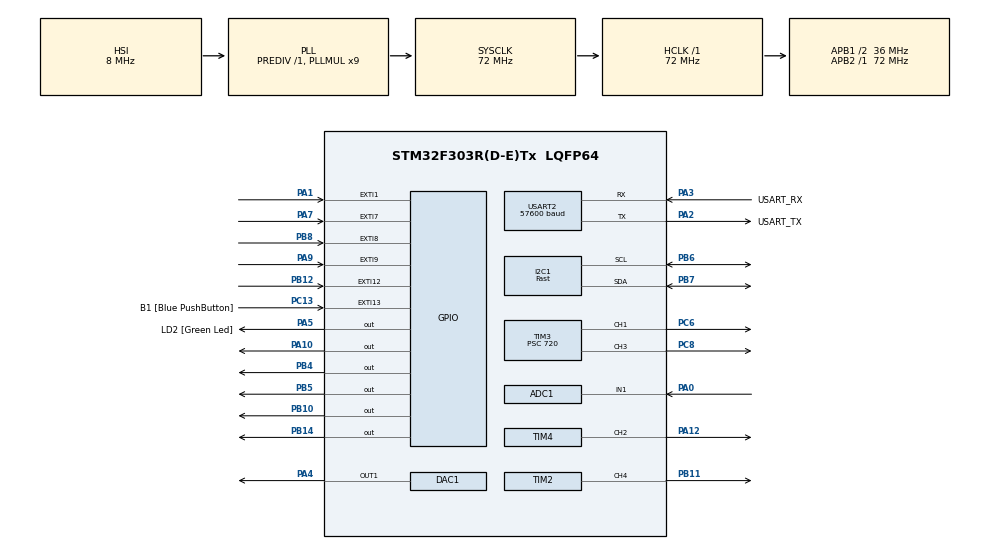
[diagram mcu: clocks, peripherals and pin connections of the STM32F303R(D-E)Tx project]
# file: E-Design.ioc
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ADC1.NbrOfConversionFlag=1
ADC1.SamplingTimeOPAMP-0\#ChannelRegularConversion=ADC_SAMPLETIME_61CYCLES_5
ADC1.master=1
Dma.ADC1.1.Direction=DMA_PERIPH_TO_MEMORY
Dma.ADC1.1.Instance=DMA1_Channel1
Dma.ADC1.1.MemDataAlignment=DMA_MDATAALIGN_HALFWORD
Dma.ADC1.1.MemInc=DMA_MINC_ENABLE
Dma.ADC1.1.Mode=DMA_NORMAL
Dma.ADC1.1.PeriphDataAlignment=DMA_PDATAALIGN_HALFWORD
Dma.ADC1.1.PeriphInc=DMA_PINC_DISABLE
Dma.ADC1.1.Priority=DMA_PRIORITY_LOW
Dma.I2C1_RX.2.Direction=DMA_PERIPH_TO_MEMORY
Dma.I2C1_RX.2.Instance=DMA1_Channel7
Dma.I2C1_RX.2.MemDataAlignment=DMA_MDATAALIGN_BYTE
Dma.I2C1_RX.2.MemInc=DMA_MINC_ENABLE
Dma.I2C1_RX.2.Mode=DMA_NORMAL
Dma.I2C1_RX.2.PeriphDataAlignment=DMA_PDATAALIGN_BYTE
Dma.I2C1_RX.2.PeriphInc=DMA_PINC_DISABLE
Dma.I2C1_RX.2.Priority=DMA_PRIORITY_LOW
Dma.Request0=USART2_RX
Dma.Request1=ADC1
Dma.Request2=I2C1_RX
Dma.USART2_RX.0.Direction=DMA_PERIPH_TO_MEMORY
Dma.USART2_RX.0.Instance=DMA1_Channel6
Dma.USART2_RX.0.MemDataAlignment=DMA_MDATAALIGN_BYTE
Dma.USART2_RX.0.MemInc=DMA_MINC_ENABLE
Dma.USART2_RX.0.Mode=DMA_NORMAL
Dma.USART2_RX.0.PeriphDataAlignment=DMA_PDATAALIGN_BYTE
Dma.USART2_RX.0.PeriphInc=DMA_PINC_DISABLE
Dma.USART2_RX.0.Priority=DMA_PRIORITY_LOW
I2C1.I2C_Speed_Mode=I2C_Fast
I2C1.Timing=0x0000020B
Mcu.Family=STM32F3
Mcu.Name=STM32F303R(D-E)Tx
Mcu.Package=LQFP64
NVIC.ADC1_2_IRQn=true\:0\:0\:false\:false\:true\:true\:true\:true
NVIC.DMA1_Channel1_IRQn=true\:0\:0\:false\:false\:true\:false\:true\:true
NVIC.DMA1_Channel6_IRQn=true\:0\:0\:false\:false\:true\:false\:true\:true
NVIC.DMA1_Channel7_IRQn=true\:0\:0\:false\:false\:true\:false\:true\:true
NVIC.EXTI15_10_IRQn=true\:0\:0\:false\:false\:true\:true\:true\:true
NVIC.EXTI1_IRQn=true\:0\:0\:false\:false\:true\:true\:true\:true
NVIC.EXTI9_5_IRQn=true\:0\:0\:false\:false\:true\:true\:true\:true
NVIC.PriorityGroup=NVIC_PRIORITYGROUP_0
NVIC.TIM2_IRQn=true\:0\:0\:false\:false\:true\:true\:true\:true
NVIC.TIM3_IRQn=true\:0\:0\:false\:false\:true\:true\:true\:true
NVIC.TIM6_DAC_IRQn=true\:0\:0\:false\:false\:true\:true\:true\:true
NVIC.USART2_IRQn=true\:0\:0\:false\:false\:true\:true\:true\:true
PA0.Mode=IN1-Single-Ended
PA0.Signal=ADC1_IN1
PA1.GPIO_ModeDefaultEXTI=GPIO_MODE_IT_RISING_FALLING
PA1.GPIO_PuPd=GPIO_PULLUP
PA1.Signal=GPXTI1
PA10.Signal=GPIO_Output
PA12.Signal=S_TIM4_CH2
PA13.GPIO_Label=TMS
PA13.Mode=Serial_Wire
PA13.Signal=SYS_JTMS-SWDIO
PA14.GPIO_Label=TCK
PA14.Mode=Serial_Wire
PA14.Signal=SYS_JTCK-SWCLK
PA2.GPIO_Label=USART_TX
PA2.GPIO_Mode=GPIO_MODE_AF_PP
PA2.GPIO_PuPd=GPIO_NOPULL
PA2.GPIO_Speed=GPIO_SPEED_FREQ_LOW
PA2.Mode=Asynchronous
PA2.Signal=USART2_TX
PA3.GPIO_Label=USART_RX
PA3.GPIO_Mode=GPIO_MODE_AF_PP
PA3.GPIO_PuPd=GPIO_NOPULL
PA3.GPIO_Speed=GPIO_SPEED_FREQ_LOW
PA3.Mode=Asynchronous
PA3.Signal=USART2_RX
PA4.Signal=COMP_DAC11_group
PA5.GPIO_Label=LD2 [Green Led]
PA5.GPIO_Mode=GPIO_MODE_OUTPUT_PP
PA5.GPIO_PuPd=GPIO_NOPULL
PA5.GPIO_Speed=GPIO_SPEED_FREQ_LOW
PA5.Signal=GPIO_Output
PA7.GPIO_ModeDefaultEXTI=GPIO_MODE_IT_RISING_FALLING
PA7.GPIO_PuPd=GPIO_PULLUP
PA7.Signal=GPXTI7
PA9.GPIO_ModeDefaultEXTI=GPIO_MODE_IT_RISING_FALLING
PA9.GPIO_PuPd=GPIO_PULLUP
PA9.Signal=GPXTI9
PB10.Signal=GPIO_Output
PB11.Signal=S_TIM2_CH4
PB12.GPIO_ModeDefaultEXTI=GPIO_MODE_IT_FALLING
PB12.GPIO_PuPd=GPIO_PULLUP
PB12.Signal=GPXTI12
PB14.PinState=GPIO_PIN_SET
PB14.Signal=GPIO_Output
PB3.GPIO_Label=SWO
PB3.Signal=SYS_JTDO-TRACESWO
PB4.Signal=GPIO_Output
PB5.Signal=GPIO_Output
PB6.Mode=I2C
PB6.Signal=I2C1_SCL
PB7.Mode=I2C
PB7.Signal=I2C1_SDA
PB8.GPIO_ModeDefaultEXTI=GPIO_MODE_IT_RISING_FALLING
PB8.GPIO_PuPd=GPIO_PULLUP
PB8.Signal=GPXTI8
PC13.GPIO_Label=B1 [Blue PushButton]
PC13.GPIO_ModeDefaultEXTI=GPIO_MODE_IT_FALLING
PC13.Signal=GPXTI13
PC14-OSC32_IN.Mode=LSE-External-Oscillator
PC14-OSC32_IN.Signal=RCC_OSC32_IN
PC15-OSC32_OUT.Mode=LSE-External-Oscillator
PC15-OSC32_OUT.Signal=RCC_OSC32_OUT
PC6.Signal=S_TIM3_CH1
PC8.Signal=S_TIM3_CH3
PF0-OSC_IN.Mode=HSE-External-Clock-Source
PF0-OSC_IN.Signal=RCC_OSC_IN
PF1-OSC_OUT.Signal=RCC_OSC_OUT
ProjectManager.HeapSize=0x200
ProjectManager.StackSize=0x400
ProjectManager.TargetToolchain=STM32CubeIDE
RCC.AHBFreq_Value=72000000
RCC.APB1CLKDivider=RCC_HCLK_DIV2
RCC.APB1Freq_Value=36000000
RCC.APB1TimFreq_Value=72000000
RCC.APB2Freq_Value=72000000
RCC.APB2TimFreq_Value=72000000
RCC.CortexFreq_Value=72000000
RCC.HCLKFreq_Value=72000000
RCC.HSE_VALUE=8000000
RCC.HSI_VALUE=8000000
RCC.PLLM=8
RCC.PLLMUL=RCC_PLL_MUL9
RCC.PLLN=336
RCC.PLLP=RCC_PLLP_DIV4
RCC.PLLQ=7
RCC.RCC_PLLsource_Clock_Source_FROM_HSE=RCC_HSE_PREDIV_DIV2
RCC.SYSCLKFreq_VALUE=72000000
RCC.SYSCLKSourceVirtual=RCC_SYSCLKSOURCE_PLLCLK
RCC.USBFreq_Value=72000000
SH.COMP_DAC11_group.0=DAC1_OUT1,DAC_OUT1
SH.S_TIM2_CH4.0=TIM2_CH4,PWM Generation4 CH4
SH.S_TIM3_CH1.0=TIM3_CH1,PWM Generation1 CH1
SH.S_TIM3_CH3.0=TIM3_CH3,PWM Generation3 CH3
SH.S_TIM4_CH2.0=TIM4_CH2,PWM Generation2 CH2
TIM2.Channel-PWM\ Generation4\ CH4=TIM_CHANNEL_4
TIM2.Period=999
TIM2.Prescaler=720
TIM2.Pulse-PWM\ Generation4\ CH4=500
TIM3.Channel-PWM\ Generation1\ CH1=TIM_CHANNEL_1
TIM3.Channel-PWM\ Generation3\ CH3=TIM_CHANNEL_3
TIM3.Period=999
TIM3.Prescaler=720
TIM4.Channel-PWM\ Generation2\ CH2=TIM_CHANNEL_2
TIM4.Period=999
TIM4.Prescaler=720
USART2.BaudRate=57600
USART2.Parity=PARITY_EVEN
USART2.StopBits=STOPBITS_2
USART2.VirtualMode-Asynchronous=VM_ASYNC
USART2.WordLength=WORDLENGTH_9B
VP_TIM2_VS_ClockSourceINT.Mode=Internal
VP_TIM3_VS_ClockSourceINT.Mode=Internal
VP_TIM4_VS_ClockSourceINT.Mode=Internal
board=NUCLEO-F303RE

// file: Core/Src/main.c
/* USER CODE BEGIN Header */
/**
  ******************************************************************************
  * @file           : main.c
  * @brief          : Main program body
  ******************************************************************************
  * @attention
  *
  * Copyright (c) 2023 STMicroelectronics.
  * All rights reserved.
  *
  * This software is licensed under terms that can be found in the LICENSE file
  * in the root directory of this software component.
  * If no LICENSE file comes with this software, it is provided AS-IS.
  *
  ******************************************************************************
  */
/* USER CODE END Header */
#include "main.h"

/* USER CODE BEGIN Includes */
#include "string.h"
#include "stdio.h"
#include <math.h>
#include <stdlib.h>
#include "stdbool.h"
#include "iqs7211a_addresses.h"
#include "IQS7211A_init_AZP1189A3_v0.1.h"
#include "IQS7211A.h"
#include "hellothere.h"

//#include "stm32f4xx_hal_dma.h"
/* USER CODE END Includes */

ADC_HandleTypeDef hadc1;
DMA_HandleTypeDef hdma_adc1;

DAC_HandleTypeDef hdac1;

I2C_HandleTypeDef hi2c1;
DMA_HandleTypeDef hdma_i2c1_rx;

TIM_HandleTypeDef htim2;
TIM_HandleTypeDef htim3;
TIM_HandleTypeDef htim4;

UART_HandleTypeDef huart2;
DMA_HandleTypeDef hdma_usart2_rx;

/* USER CODE BEGIN PV */

//debug

extern uint8_t pressAndHoldFlag;
extern uint8_t SlideFlag;
extern uint8_t TapFlag;
extern uint32_t distance;
extern int diffX;
volatile int volconflag = 0;

int rchan=0;
int gchan=0;
int bchan=0;
uint8_t prevMODE =0;
uint8_t modechangedflag = 0;
extern double InitialdiffX;
extern double InitialdiffY;
extern double initialstate_intensity;
int rrr;
uint8_t stateok=0;
int max_r;

volatile double state_intensity=0;
double slidetime=0;
double calltime=0;
double sliderold1[6]={0};

//dma
int statett =0;
extern uint16_t prodNum;
uint8_t strobeon=0;
uint8_t ps=0; //power state replaces power
uint8_t dmaflag = 0 ;
int rcnt = 0;
extern uint8_t azoFlag;

uint8_t firston = 0;
int testflag=0;
//morsesend
int timuni = 512;
extern int32_t slideroldtrack ;
int reqwait = 0;
int reqwait2 = 0;
int voltlev =0;
int varno=0;
int len1=0;
int len2=0;
int len3=0;
extern uint8_t testmode;
uint8_t probincr=0;

int cyclesno;
char finale[4]="DEB";
uint32_t pwmvoltlev=0;

int sumdiff=0;
volatile int out_new=0;

int x1=0;
int x2=0;
int x3=0;
int x4=0;
int morsesent=0;
int ii=0;
int jj=0;

uint8_t databuf[5];

//morse
uint8_t flagstatcopy = 0;
int test1=0;
int test2=0;
int* output1 = NULL;
float cantruntime =0;
int* output2= NULL;
int* output3= NULL;
char defmes[4] = "SOS" ;
char message[4] = "SOS" ;
char c;
const char* morse = NULL;
int* output;

char* morseTable[] = {
    ".-", "-...", "-.-.", "-..", ".", "..-.", "--.", "....", "..",
    ".---", "-.-", ".-..", "--", "-.", "---", ".--.", "--.-", ".-.",
    "...", "-", "..-", "...-", ".--", "-..-", "-.--", "--..",
    "-----", ".----", "..---", "...--", "....-", ".....",
    "-....", "--...", "---..", "----."
};

//strobe

uint8_t alternator=0;
int dutycyc = 500;
uint32_t strobetime=0;
uint8_t strobeflag = 0;

int k=0;

//UART
char txData[13] = "#:25002783:$\n";
uint8_t rxdata[50];
char countarr[5];

int tickspr = 0;
int tickspr1 = 0;

//debug
uint8_t testopen;
uint8_t byvar;
uint8_t cntlp=0;
int hardfault1=0;
int stinlast =0;

//button vars
extern uint8_t state;
 uint8_t stateincr=0;
 int oldst= 0 ;

uint16_t cntA9=0;  //A9 is middle
uint16_t cntB8=0; //left B8
uint16_t cntA6=0;  //A6 is top
uint16_t cntA7=0;   //A7 right
uint16_t cntA1=0;  //B9 is bottom

uint8_t prevA9=1;
uint8_t prevA1=1;
uint8_t prevB8=1;
uint8_t prevA6=1;
uint8_t prevA7=1;

 uint8_t letbut=0;
 uint8_t ritbut=0;
 uint8_t botbut=0;
 uint8_t topbut=0;
 uint8_t midbut=0;

//adc slider
 uint32_t val=0; // value of R (digital val 0 to around 4k)

float vin=0;
double vinadj=0;

//dac
double dacout=0;
volatile uint32_t output_voltage = 0;

//mode
uint8_t MODE=0;
uint8_t emmode=0;

//pwm
uint16_t pwmval = 0;
int azoincroo=0;

double vinadjsum[3]= {0};
	  uint8_t io=0;

double vinadjav =0;

//uart decoding
uint8_t butencode=0;
uint8_t statepara[4];
uint8_t par1[4];
uint8_t par2[4];
uint8_t statepara_str[5];

uint16_t stateval = 0 ;
uint16_t p1val =0;
uint16_t p2bchan=0;
uint16_t p1timeval =0;

char p2val[4] = "000";
 uint16_t flagstat=0;
uint8_t uartmode=0;
uint8_t statusarr[19];

//uart
uint8_t rxReqBuf[7];
uint8_t rxSetBuf[19];
uint8_t globalsize;

extern uint16_t xCoord;
extern uint16_t yCoord;

//uart inerrupt conflict

double sliderold=0;

/* USER CODE END PV */

void SystemClock_Config(void);
static void MX_GPIO_Init(void);
static void MX_DMA_Init(void);
static void MX_USART2_UART_Init(void);
static void MX_ADC1_Init(void);
static void MX_DAC1_Init(void);
static void MX_TIM2_Init(void);
static void MX_I2C1_Init(void);
static void MX_TIM3_Init(void);
static void MX_TIM4_Init(void);
/* USER CODE BEGIN PFP */

void modeset();
void pwmset();
void dacset();
void emergencyset();
void uartencode();
void uartdecode();
void buttonpressed();
void strobeset();
void sendoutmorse();
void MODESWITCH();
void buttonselect();
void uartselect();
void poweroff();
void convertToMorse();

/* USER CODE END PFP */

/* USER CODE BEGIN 0 */
void HAL_UART_TxCpltCallback(UART_HandleTypeDef *huart) {
	   __HAL_UART_DISABLE_IT(&huart2, UART_IT_TXE);
	   //HAL_UART_Receive_IT(&huart2, (uint8_t *) rx_data, 1);

}

void HAL_UARTEx_RxEventCallback(UART_HandleTypeDef *huart, uint16_t Size){

	dmaflag=0;
	//firston=1;
	rcnt=0;
	//calltime = HAL_GetTick();
	 sliderold=vinadj;
	  if (huart->Instance == USART2) {
	        while (dmaflag != 1 && rcnt < Size+2) { // Loop while there are unread bytes in the buffer
	            if (rxdata[rcnt] == '$' && rcnt <= 5) {

	            	//req
	                memcpy(rxReqBuf, rxdata, 7);
	                uartmode = 2;
	                dmaflag = 1;

	            } else if (rxdata[rcnt] == '$' && rcnt> 5) {

	            	//set
	            	if (ps==0){
	            	ps=1;
	            	firston=1;

	            	}

	                memcpy(rxSetBuf, rxdata, 19);
	                uartmode = 1;

	                dmaflag = 1;

	            } else {
	                rcnt++;
	            }
	        }
	        //sliderold = vinadj;
	        __HAL_DMA_DISABLE_IT(&hdma_usart2_rx, DMA_IT_HT);
	        HAL_UARTEx_ReceiveToIdle_DMA(&huart2, rxdata, 50);
	        volconflag =0;
	    }
	}

void buttonpressed()  {

probincr++;
//button A9 middle
	 if (midbut ==0){
        if (ps==1){
        ps=0;
                  }

        else      {
        ps =1;
        butencode=1;
                  }
        stateok=0;

	 	 	 	 	  }

//button A6 top
     if (topbut==0)   {
      butencode=1;
      stateok=1;
            		  }
//end A6 top

//button B9 bottom

     if (botbut == 0) {
	 butencode=1;
	 stateok=1;
        			  }
 //end B9 bottom

//button B8 left
     if (letbut == 0) {
    	   butencode=1;
    	   ps=0;
    	   p1timeval=0;
    	   cntB8++;
    	   emmode=0;

           MODE = cntB8%3;
           ii=0;
           jj=0;
           rchan =128;
           gchan =128;
           bchan =128;
           stateok=1;
            	  	  }
//end B8 left

//button A7 right
     if (ritbut == 0){

		butencode=1;
        emmode++;
        p1timeval=0;

        if(emmode==3) {
          emmode=0;

    	 	    	   }

        stateok=1;}
//end A7 right

 modeset();

//end button code
}

void dacset(){

	strobeon=1;
	//start
	  HAL_DAC_Start(&hdac1, DAC_CHANNEL_1);
	  HAL_ADC_Start_DMA(&hadc1, &val, 1);

	  vin = val * (3.3) / (pow(2,12)-1);

	  //scale ADC
	  //vinadj = vin*(1.18 - 0.0436*vin + 1.72*(pow(vin,2))/1000);
	  vinadj = vin*(1.17 - 0.0456*vin + 1.70*(pow(vin,2))/1000);

	 if (vinadj>3.28){
		 vinadj=3.30;
	 }

	  //DAC out:

	  //scale dac val
	  dacout = vinadj *( 1.01 + 0.0184*vinadj - 5.15*pow(vinadj,2)/1000);

	  //dac to digital value
	  if (flagstat!=1){
	  output_voltage = (uint32_t)((4095.0/3.30)*dacout);
	  }

	  if (flagstat==1){
		  	output_voltage =(uint32_t) (4095*(((double)(stateval))/512.0));
	  }
	  //truncate digital out
	  if (output_voltage > 4095){
		  output_voltage =4095;
	  }
	  if  (alternator ==0 && strobeflag ==1){
	  		 //output_voltage =0;
		  strobeon =0;
	  	  }

	  if (MODE!=2){
	  //output dac

		  if (volconflag ==0 ){
			  initialstate_intensity = output_voltage;
		  }

		out_new = initialstate_intensity + InitialdiffX; // last state plus last difference
		if (out_new<0){
			out_new =0;

		}
		if (out_new>=4095){
					out_new =4095;

				}

	  HAL_DAC_SetValue(&hdac1, DAC_CHANNEL_1, DAC_ALIGN_12B_R, out_new*strobeon*ps);

	 // HAL_ADC_Stop(&hadc1)
	  }
	  HAL_ADC_Stop_DMA(&hadc1);
}

//end dac
void pwmset(){
	strobeon=1;
	if  (alternator ==0 && strobeflag ==1){
			  strobeon =0;
		  }

	  pwmval=(uint32_t)(((double)out_new)*1000.0/4095.0);
	  if (emmode !=2 && emmode !=1){
	  __HAL_TIM_SET_COMPARE(&htim2, TIM_CHANNEL_4, pwmval*strobeon*ps);
	  }

}

void modeset(){

	if (MODE ==0){
		//PA10 position 1 from left
		HAL_GPIO_WritePin(GPIOA, GPIO_PIN_10, GPIO_PIN_SET);
		HAL_GPIO_WritePin(GPIOB, GPIO_PIN_10, GPIO_PIN_RESET);
		HAL_GPIO_WritePin(GPIOB, GPIO_PIN_4, GPIO_PIN_RESET);
		HAL_GPIO_WritePin(GPIOB, GPIO_PIN_5, GPIO_PIN_RESET);

	}

	if (MODE ==1){
		//PB4 position 3 from left
		HAL_GPIO_WritePin(GPIOA, GPIO_PIN_10, GPIO_PIN_RESET);
		HAL_GPIO_WritePin(GPIOB, GPIO_PIN_10, GPIO_PIN_SET);
		HAL_GPIO_WritePin(GPIOB, GPIO_PIN_4, GPIO_PIN_RESET);

	    emergencyset();  //if mode 2nd on else off

		//PB5 position 4 from left

		}

	if (MODE ==2){
		//PB10 position 2 from left
		HAL_GPIO_WritePin(GPIOA, GPIO_PIN_10, GPIO_PIN_RESET);
		HAL_GPIO_WritePin(GPIOB, GPIO_PIN_10, GPIO_PIN_RESET);
		HAL_GPIO_WritePin(GPIOB, GPIO_PIN_4, GPIO_PIN_SET);
		HAL_GPIO_WritePin(GPIOB, GPIO_PIN_5, GPIO_PIN_RESET);

		}

}

void emergencyset(){
	if (emmode==2 || emmode==1){
				HAL_GPIO_WritePin(GPIOB, GPIO_PIN_5, GPIO_PIN_SET);

	}
	else{
		HAL_GPIO_WritePin(GPIOB, GPIO_PIN_5, GPIO_PIN_RESET);
	}

}

void uartdecode(){
	//size 14
	ps=1;
	  probincr++;
	//param flags
	  firston =1;

	flagstat=1;

	flagstatcopy=1;

//set all values
	//mode is not stored - held in rxsetbuf

		memcpy(statepara, &rxSetBuf[5], 3); // state para is first
	statepara[3] = '\0';
	stateval = (uint16_t)(atoi(statepara));

		memcpy(par1, &rxSetBuf[9], 3);   //here is para1
		par1[3] = '\0';
			p1val = ((double)atoi(par1));
			p1timeval = p1val;

			memcpy(par2, &rxSetBuf[13], 3);   //here is para2
			par2[3] = '\0';
			//snprintf((char*)statepara_str, 5, "%s", (char*)statepara);
			strcpy(p2val, par2);
			p2bchan = ((double)atoi(par2));

			//p2val is a char array

			//if in morse:
			// default is sos on mode switch but then to whatever huart sends. 000 no change
			//

//NOTE statepar and par1 are switched when decoding. Con

	//MODE 1

	if(rxSetBuf[3] == 'F' ){
	MODE =0; //flash
	emmode=0;

	output_voltage =(uint32_t) (4095*(((double)(stateval))/512.0));
	out_new =(uint32_t) (4095*(((double)(stateval))/512.0));

	dacset();
	pwmset();

	}

	//MODE 2
	if(rxSetBuf[3] == 'E' ){
		output_voltage =(uint32_t) (4095*(((double)(stateval))/512.0));
		out_new =(uint32_t) (4095*(((double)(stateval))/512.0));

	MODE =1; //strobe

	if (p1val==0){

		//its in morse custom mode
		emmode=2;

		if (p2val[0] == '0' && p2val[1] == '0' && p2val[2] == '0'){

			message[3]= '\0';

			//do nothing idk
		}
		else{

			//declare my message array as para2
			for(int i=0;i<3;i++){
			message[i]= p2val[i];
			message[3]= '\0';

			}
			if ( p2val[0]=='0' && p2val[1]=='0' && p2val[2]=='0'){
				for(int i=0;i<3;i++){
							message[i]= defmes[i];
							message[3]= '\0';

							}

			}

		}

		}

	else if (p1val !=0){
		//probincr++;
					//its in strobe mode
					// output_voltage = stateval;
							dacset();
							pwmset();
							//customized for when mode =1
							emmode=0;

				}

	}

	//MODE 3
	if(rxSetBuf[3] == 'M' ){
	MODE =2;

	rchan =stateval;
	gchan = p1val;
	bchan = p2bchan;

	//adjust R channel

	}

firston=1;
	sliderold = vinadj;
	ps=1;
modeset();
}

void uartencode(){

//if flagstat 0??

		stateval = (uint32_t)((double)(out_new)*512.0/4095.0 + 0.5);

	if (emmode==0 && MODE ==1){ // if switched to manual input then  act accordingly flagstat==0 &&

		strcpy(p2val, "SOS");

	}

	if (MODE==1 && (emmode==1 )  && p2val[0]=='0' && p2val[1]=='0' && p2val[2]=='0'){
		 memcpy(p2val, defmes, 4);
	}

	if (MODE==1 && emmode==2 && p2val[0]=='0' && p2val[1]=='0' && p2val[2]=='0'){
		 memcpy(p2val, message, 4);

		}

	if (MODE ==2 ){
		stateval = rchan;
		p1timeval = gchan;
		sprintf(p2val, "%03d", bchan);

	}
	if (ps ==0 && MODE !=2){
		stateval =0;
	}

	// Use sprintf() to format the integer as a string and store it in the totransmit array

	sprintf((char*)(intptr_t)&statusarr[9], "%03d", p1timeval);
	//sprintf((char*)(intptr_t)&statusarr[13], "%03d", p2val);
	sprintf((char*)(intptr_t)&statusarr[13], "%s", p2val);
	//	sprintf(&statusarr[9], "%03d", p2val);
	sprintf(&statusarr[5], "%03d", stateval);
	statusarr[0] = '#';
	sprintf((char*)(intptr_t)&statusarr[1], "%03d", ':');
	statusarr[2] = 'M';
	statusarr[1] = ':';
	statusarr[4] = ':';
	statusarr[8] = ':';
	statusarr[12] = ':';
	statusarr[16] = ':';
	statusarr[17] = '$';
	statusarr[18] = 10;
	//sprintf(&statusarr[9], "%03d", p2val);

	if (MODE==0){

		statusarr[3] = 'F';
	}
	if (MODE==1){

		statusarr[3] = 'E';
	}
	if (MODE==2){

		statusarr[3] = 'M';
	}

	HAL_UART_Transmit(&huart2, statusarr, 19, 500);

}

void strobeset(){

// Start the PWM signal
strobeflag =1;

if (alternator ==0){

dacset();
pwmset();
alternator =1;
}
else{

dacset();
pwmset();
alternator =0;

}

strobetime = HAL_GetTick();

strobeflag=0;

}
//declare

void convertToMorse() {

    for (int i = 0; i < 3; i++) {
        // Convert current character to uppercase
    	if (emmode==2){
         c = (message[i]);
    	}
    	if (emmode==1){
    		c = defmes[i];
    	}

        // Find Morse code for current character
        //const char* morse = NULL;
        if (c >= 'A' && c <= 'Z') {
            morse = morseTable[c - 'A']; //morse is current morse char ie S
        } else if (c >= '0' && c <= '9') {
            morse = morseTable[c - '0' + 26];
        }

        // Convert Morse code to binary and store in appropriate output array

        if (i == 0) {
    		len1 = strlen(morse) ;
        	output = output1 = (int*) malloc(strlen(morse) * sizeof(int)+1);

        } else if (i == 1) {
        	len2 = strlen(morse) ;
            output = output2 = (int*) malloc(strlen(morse) * sizeof(int)+1);
        } else {
        	len3 = strlen(morse) ;
            output = output3 = (int*) malloc(strlen(morse) * sizeof(int)+1);
        }
        //varno++;
         k = 0;
        while (*morse) {
            output[k++] = (*morse++ == '.') ? 0 : 1;
        }
        output[k] = '\0';

    }

}

void sendoutmorse(){

	if ((HAL_GetTick()-morsesent)>=reqwait){

		HAL_DAC_SetValue(&hdac1, DAC_CHANNEL_1, DAC_ALIGN_12B_R, 0);
		__HAL_TIM_SET_COMPARE(&htim2, TIM_CHANNEL_4, 0);

		if ((HAL_GetTick()-morsesent)>=(reqwait+timuni + reqwait2)){

			voltlev = out_new;

			//fix here
			pwmvoltlev = ((double)voltlev)*1000/4095;
			reqwait2 =0;

	if (ii ==0){
		//output1[i]!='\0'
		if (output1[jj]==1){

			HAL_DAC_SetValue(&hdac1, DAC_CHANNEL_1, DAC_ALIGN_12B_R, voltlev*ps);
			__HAL_TIM_SET_COMPARE(&htim2, TIM_CHANNEL_4, pwmvoltlev*ps);
			 //databuf[i] = '1';
			reqwait = 3*timuni;
			//srtflag =1; //wait extra 512ms at 0V

		}

		else{

			//databuf[i] = '0';

			HAL_DAC_SetValue(&hdac1, DAC_CHANNEL_1, DAC_ALIGN_12B_R, voltlev*ps);
			__HAL_TIM_SET_COMPARE(&htim2, TIM_CHANNEL_4, pwmvoltlev*ps);
			reqwait = timuni;
		}
		jj++;
		if (jj==len1){
			reqwait2  = 2*timuni;

			ii++;
			jj=0;
		}

	}

	else if (ii ==1){
		//output1[i]!='\0'
		if (output2[jj]==1 ){

			HAL_DAC_SetValue(&hdac1, DAC_CHANNEL_1, DAC_ALIGN_12B_R, voltlev*ps);
			__HAL_TIM_SET_COMPARE(&htim2, TIM_CHANNEL_4, pwmvoltlev*ps);

			reqwait = 3*timuni;

		}

		else{

			HAL_DAC_SetValue(&hdac1, DAC_CHANNEL_1, DAC_ALIGN_12B_R, voltlev*ps);
			__HAL_TIM_SET_COMPARE(&htim2, TIM_CHANNEL_4, pwmvoltlev*ps);
			reqwait = timuni;
		}
		test1=jj;
		jj++;
		if (jj==len2){
			test2=jj;
			ii++;
			jj=0;
			reqwait2  = 2*timuni;
		}

	}

	else if (ii ==2){
		//output1[i]!='\0'
		if (output3[jj]==1){
			reqwait = 3*timuni;

			HAL_DAC_SetValue(&hdac1, DAC_CHANNEL_1, DAC_ALIGN_12B_R, voltlev*ps);
			__HAL_TIM_SET_COMPARE(&htim2, TIM_CHANNEL_4, pwmvoltlev*ps);

		}

		else{
			//databuf[i] = '0';

			HAL_DAC_SetValue(&hdac1, DAC_CHANNEL_1, DAC_ALIGN_12B_R, voltlev*ps);
			__HAL_TIM_SET_COMPARE(&htim2, TIM_CHANNEL_4, pwmvoltlev*ps);
			reqwait = timuni;
		}
		jj++;
		if (jj==len3){
			ii=0;
			jj=0;
			reqwait2  = 6*timuni;
		}

			//HAL_UART_Transmit(&huart2, databuf, len1+1, 5);

	}
		morsesent = HAL_GetTick();

}}}

void buttonselect(){

	midbut = HAL_GPIO_ReadPin(GPIOA, GPIO_PIN_9);
        		botbut = HAL_GPIO_ReadPin(GPIOA, GPIO_PIN_1);
        		letbut = HAL_GPIO_ReadPin(GPIOB, GPIO_PIN_8);
        		ritbut = HAL_GPIO_ReadPin(GPIOA, GPIO_PIN_7);
        		topbut =  HAL_GPIO_ReadPin(GPIOA, GPIO_PIN_6);

  if ( letbut ==0 || botbut==0 ||  ritbut==0 || topbut==0 || midbut==0){
	  stateincr++;

  }
  else {
	  stateincr=0;
	  state=0;
  }

  	  if (stateincr>=170){
  		  stinlast= stateincr;
		  buttonpressed();
  	  stateincr=0;
  	state=0;
  	 tickspr = HAL_GetTick();
  	  }

}
//end func

void poweroff(){
				HAL_DAC_SetValue(&hdac1, DAC_CHANNEL_1, DAC_ALIGN_12B_R, 0);
				  __HAL_TIM_SET_COMPARE(&htim2, TIM_CHANNEL_4, 0);

	  }

//endpower

void MODESWITCH(){

		  if (MODE ==0){
				  dacset();
				  pwmset();  // SET PWM AND DAC BASED ON SLIDER VOLTAGE

					  }
			if (MODE ==1 ){

							if (emmode==0){
								//strobe flagstat==1 ||
								if(p1timeval !=0){
								if (HAL_GetTick()-strobetime>=p1timeval){
									  strobeset();
											  }}
								else if (flagstat==0 || p1timeval==0){
									p1timeval=512;

									if (HAL_GetTick()-strobetime>=512){
									strobeset();
																						  }

								}
							}

							else if (emmode ==1 || emmode ==2){

								//morse

								dacset();
								  pwmset();
						  convertToMorse();
								sendoutmorse();

							free(output1);
							free(output2);
							free(output3);
			}}

			if (MODE==2){
//				if (modechangedflag){
//					rchan =128;
//					gchan =128;
//					bchan =128;
//					modechangedflag=0;
//				}

				HAL_DAC_SetValue(&hdac1, DAC_CHANNEL_1, DAC_ALIGN_12B_R, 0);
				__HAL_TIM_SET_COMPARE(&htim2, TIM_CHANNEL_4, 0);

			}

}
//end modeswitch

void uartselect(){
probincr += uartmode;
		if (uartmode==1){
			  	  	  //mode 1 is a set command

			  uartdecode();

				//uartencode();

			 uartmode=0;
		  }

		  if (uartmode==2){

			  //mode 2 is a request command

			  uartencode();
			  uartmode=0;  //mode 0 is no decode or encode
	  }

}

void hitthelights(){

	// x 0-  1792  y 0- 768
	int streng = (int)((float)yCoord/740.0*572);
	if (streng >512){
		streng =512;
	}

	if(xCoord <(1783.0/3) && xCoord >0){
		rchan = streng;  // r mapped pc8 3,3
		char* msg = "red channel: ";
		int len = strlen(msg);
		//HAL_UART_Transmit(&huart2, (uint8_t*)msg, len, 100);
		char statey[5];
								sprintf(&statey, "%03d\n", rchan);
								//HAL_UART_Transmit(&huart2, (uint8_t*)statey, 3, 100);
		//HAL_UART_Transmit(&huart2, (uint8_t*)"\n", 1, 100);

	}
	if(xCoord >(1783.0/3) && xCoord <(1783.0*2/3)){
			gchan = streng; // g mapped pa12 4,2
			char* msg = "green channel: ";
			int len = strlen(msg);
			//HAL_UART_Transmit(&huart2, (uint8_t*)msg, len, 100);

			char statey[5];
			sprintf(&statey, "%03d\n", gchan);
			//HAL_UART_Transmit(&huart2, (uint8_t*)statey, 3, 100);

			//HAL_UART_Transmit(&huart2, (uint8_t*)"\n", 1, 100);

		}
	if(xCoord >(1783.0*2/3) && xCoord <(1783.0)){
			bchan =(int) streng;   // blue mapped pc6 tim3 chan 1

			char* msg = "blue channel: ";
			int len = strlen(msg);
			//HAL_UART_Transmit(&huart2, (uint8_t*)msg, len, 100);
			//transmit message
			char statey[5];
						sprintf(&statey, "%03d\n", bchan);
						//HAL_UART_Transmit(&huart2, (uint8_t*)statey, 3, 100);
		//trans channel
		//trans newline

			//HAL_UART_Transmit(&huart2, (uint8_t*)"\n", 1, 100);

		}

}

/* USER CODE END 0 */

int main(void)
{

  /* MCU Configuration--------------------------------------------------------*/

  /* Reset of all peripherals, Initializes the Flash interface and the Systick. */

	HAL_Init();

  /* Configure the system clock */
  SystemClock_Config();

  /* Initialize all configured peripherals */
  MX_GPIO_Init();
  MX_DMA_Init();
  MX_USART2_UART_Init();
  MX_ADC1_Init();
  MX_DAC1_Init();
  MX_TIM2_Init();
  MX_I2C1_Init();
  MX_TIM3_Init();
  MX_TIM4_Init();
  /* USER CODE BEGIN 2 */
//  HAL_UART_Receive_IT(&huart2, rxdata, sizeof(rxdata));
HAL_Delay(150);
HAL_UARTEx_ReceiveToIdle_DMA(&huart2, rxdata, 50);
  __HAL_DMA_DISABLE_IT(&hdma_usart2_rx, DMA_IT_HT);
HAL_UART_Transmit(&huart2, (uint8_t*)txData, 13, 500);

//HAL_Delay(50);
//
//char buffer[] = "helloworld";
//strcpy(buffer, "helloworld");
//
//HAL_UART_Transmit(&huart2, (uint8_t*)buffer, 11, 500);

  modeset();
 // HAL_Delay(10);
  HAL_TIM_PWM_Start(&htim2, TIM_CHANNEL_4); // 42 33 31
  HAL_TIM_PWM_Start(&htim4, TIM_CHANNEL_2);
  HAL_TIM_PWM_Start(&htim3, TIM_CHANNEL_3);
  HAL_TIM_PWM_Start(&htim3, TIM_CHANNEL_1);

  HAL_ADC_Start(&hadc1);
  HAL_ADC_Start_DMA(&hadc1, &val, 1);
  //HAL_Delay(10);

  HAL_GPIO_WritePin(GPIOB, GPIO_PIN_14, GPIO_PIN_RESET);
  	HAL_Delay(10);
  	HAL_GPIO_WritePin(GPIOB, GPIO_PIN_14, GPIO_PIN_SET);
  //	HAL_Delay(10);
  	make_reset_certain();
  	set_trackpad_settings();
  //	HAL_Delay(10);
  	TP_ReATI();

  	//HAL_Delay(10);

firston =1;

//while (azoFlag==0){
//
//	continue;
//}
//azoFlag=0;
//acknowledgeReset();
//writeMM();
//TP_ReATI();
//uint16_t prodNum = getProductNum();

  /* USER CODE END 2 */

  /* Infinite loop */
  /* USER CODE BEGIN WHILE */
  while (1)
  {

	  if (MODE ==2){

			 __HAL_TIM_SET_COMPARE(&htim3, TIM_CHANNEL_3, (int)(((float)rchan)*ps*1000.0/512.0));
			 __HAL_TIM_SET_COMPARE(&htim4, TIM_CHANNEL_2, (int)(((float)bchan)*ps*1000.0/512.0));
		  __HAL_TIM_SET_COMPARE(&htim3, TIM_CHANNEL_1, (int)(((float)gchan)*ps*1000.0/512.0));
	  }
	  else {
		  rchan=128;
		  bchan=128;
		  gchan=128;
			 __HAL_TIM_SET_COMPARE(&htim3, TIM_CHANNEL_3, (int)(((float)rchan)*0/512.0));
			 __HAL_TIM_SET_COMPARE(&htim4, TIM_CHANNEL_2, (int)(((float)gchan)*0/512.0));
		  __HAL_TIM_SET_COMPARE(&htim3, TIM_CHANNEL_1, (int)(((float)bchan)*0/512.0));
	  }
	  vinadjsum[io] = vinadj;
	  vinadjav = 	( vinadjsum[0]+vinadjsum[2]+vinadjsum[1])/(io+1);
	  io++;
	  if (io==3){
		  io=0;
		  vinadjsum[0]=0;
		  vinadjsum[1]=0;
		  vinadjsum[2]=0;
	  }

//	  if (prevMODE !=MODE){
//		  modechangedflag =1;
//	  }

	  //ensures slider old not set to 0 before vinadj initialized

	  //uart protocol set or request function

	  uartselect();

	  //find out which mode and call its operations
		  MODESWITCH();

	if (flagstat==0){
		sliderold=vinadj;
	}
	  if (ps==0){

		 poweroff();

	  }

	  //button press and operations

	// send out button press state
	  if (state==1 && HAL_GetTick()-tickspr>=28){  //button pressed
	buttonselect();

		 	  }
	  if (butencode==1){

		  probincr++;
		  uartencode();
		  butencode=0;
	  }

	  updateTrackpad();

	  if (TapFlag==1){
		  sliderold = vinadj;
		  stateok=0;
		  firston=1;
		 // cantruntime =HAL_GetTick();
		  if (MODE ==2 ){
			  //modes go from 0-2
			  hitthelights();

		  }
		  if (MODE ==1){
			  emmode++;
			        p1timeval=0;

			        if(emmode==3) {
			          emmode=0;

			    	 	    	   }
			       modeset();
		  }
		  flagstatcopy = 1;

		  TapFlag=0;
	  }

		  if (flagstat==1 && firston !=1 && (  abs((int32_t)(1000.0*
				  (sliderold - vinadjav)))>150  || ((stateok ==1) && state==1)))
				  {

			  flagstat=0;  //revert to analog in

		  }
		   rrr = (abs((int32_t)((int32_t)slideroldtrack - (int32_t)output_voltage) ));

		  if (  rrr>300  || flagstatcopy==1){

			  //sumdiff=0;
			 // resinitflag =1;
			  out_new = output_voltage;
			  initialstate_intensity = output_voltage;
			  InitialdiffX = 0;
			  volconflag=0;
			  flagstatcopy=0;
		  }

		  if (pressAndHoldFlag==1){
			  if (ps==1){
				  probincr++;
				  ps=0;

			  }
			  else{ps=1;}
			  pressAndHoldFlag=0;
		 	  }

//		  if (firston==1){
//			  azoFlag =1;
//		  }

		  firston=0;
    /* USER CODE END WHILE */

  }
}

void SystemClock_Config(void)
{
  RCC_OscInitTypeDef RCC_OscInitStruct = {0};
  RCC_ClkInitTypeDef RCC_ClkInitStruct = {0};
  RCC_PeriphCLKInitTypeDef PeriphClkInit = {0};

  /** Initializes the RCC Oscillators according to the specified parameters
  * in the RCC_OscInitTypeDef structure.
  */
  RCC_OscInitStruct.OscillatorType = RCC_OSCILLATORTYPE_HSI;
  RCC_OscInitStruct.HSIState = RCC_HSI_ON;
  RCC_OscInitStruct.HSICalibrationValue = RCC_HSICALIBRATION_DEFAULT;
  RCC_OscInitStruct.PLL.PLLState = RCC_PLL_ON;
  RCC_OscInitStruct.PLL.PLLSource = RCC_PLLSOURCE_HSI;
  RCC_OscInitStruct.PLL.PLLMUL = RCC_PLL_MUL9;
  RCC_OscInitStruct.PLL.PREDIV = RCC_PREDIV_DIV1;
  if (HAL_RCC_OscConfig(&RCC_OscInitStruct) != HAL_OK)
  {
    Error_Handler();
  }

  /** Initializes the CPU, AHB and APB buses clocks
  */
  RCC_ClkInitStruct.ClockType = RCC_CLOCKTYPE_HCLK|RCC_CLOCKTYPE_SYSCLK
                              |RCC_CLOCKTYPE_PCLK1|RCC_CLOCKTYPE_PCLK2;
  RCC_ClkInitStruct.SYSCLKSource = RCC_SYSCLKSOURCE_PLLCLK;
  RCC_ClkInitStruct.AHBCLKDivider = RCC_SYSCLK_DIV1;
  RCC_ClkInitStruct.APB1CLKDivider = RCC_HCLK_DIV2;
  RCC_ClkInitStruct.APB2CLKDivider = RCC_HCLK_DIV1;

  if (HAL_RCC_ClockConfig(&RCC_ClkInitStruct, FLASH_LATENCY_2) != HAL_OK)
  {
    Error_Handler();
  }
  PeriphClkInit.PeriphClockSelection = RCC_PERIPHCLK_USART2|RCC_PERIPHCLK_I2C1
                              |RCC_PERIPHCLK_ADC12|RCC_PERIPHCLK_TIM2
                              |RCC_PERIPHCLK_TIM34;
  PeriphClkInit.Usart2ClockSelection = RCC_USART2CLKSOURCE_PCLK1;
  PeriphClkInit.Adc12ClockSelection = RCC_ADC12PLLCLK_DIV1;
  PeriphClkInit.I2c1ClockSelection = RCC_I2C1CLKSOURCE_HSI;
  PeriphClkInit.Tim2ClockSelection = RCC_TIM2CLK_HCLK;
  PeriphClkInit.Tim34ClockSelection = RCC_TIM34CLK_HCLK;
  if (HAL_RCCEx_PeriphCLKConfig(&PeriphClkInit) != HAL_OK)
  {
    Error_Handler();
  }
}

static void MX_ADC1_Init(void)
{

  ADC_MultiModeTypeDef multimode = {0};
  ADC_ChannelConfTypeDef sConfig = {0};

  /** Common config
  */
  hadc1.Instance = ADC1;
  hadc1.Init.ClockPrescaler = ADC_CLOCK_ASYNC_DIV1;
  hadc1.Init.Resolution = ADC_RESOLUTION_12B;
  hadc1.Init.ScanConvMode = ADC_SCAN_DISABLE;
  hadc1.Init.ContinuousConvMode = DISABLE;
  hadc1.Init.DiscontinuousConvMode = DISABLE;
  hadc1.Init.ExternalTrigConvEdge = ADC_EXTERNALTRIGCONVEDGE_NONE;
  hadc1.Init.ExternalTrigConv = ADC_SOFTWARE_START;
  hadc1.Init.DataAlign = ADC_DATAALIGN_RIGHT;
  hadc1.Init.NbrOfConversion = 1;
  hadc1.Init.DMAContinuousRequests = DISABLE;
  hadc1.Init.EOCSelection = ADC_EOC_SINGLE_CONV;
  hadc1.Init.LowPowerAutoWait = DISABLE;
  hadc1.Init.Overrun = ADC_OVR_DATA_OVERWRITTEN;
  if (HAL_ADC_Init(&hadc1) != HAL_OK)
  {
    Error_Handler();
  }

  /** Configure the ADC multi-mode
  */
  multimode.Mode = ADC_MODE_INDEPENDENT;
  if (HAL_ADCEx_MultiModeConfigChannel(&hadc1, &multimode) != HAL_OK)
  {
    Error_Handler();
  }

  /** Configure Regular Channel
  */
  sConfig.Channel = ADC_CHANNEL_1;
  sConfig.Rank = ADC_REGULAR_RANK_1;
  sConfig.SingleDiff = ADC_SINGLE_ENDED;
  sConfig.SamplingTime = ADC_SAMPLETIME_1CYCLE_5;
  sConfig.OffsetNumber = ADC_OFFSET_NONE;
  sConfig.Offset = 0;
  if (HAL_ADC_ConfigChannel(&hadc1, &sConfig) != HAL_OK)
  {
    Error_Handler();
  }

}

static void MX_DAC1_Init(void)
{

  DAC_ChannelConfTypeDef sConfig = {0};

  /** DAC Initialization
  */
  hdac1.Instance = DAC1;
  if (HAL_DAC_Init(&hdac1) != HAL_OK)
  {
    Error_Handler();
  }

  /** DAC channel OUT1 config
  */
  sConfig.DAC_Trigger = DAC_TRIGGER_NONE;
  sConfig.DAC_OutputBuffer = DAC_OUTPUTBUFFER_ENABLE;
  if (HAL_DAC_ConfigChannel(&hdac1, &sConfig, DAC_CHANNEL_1) != HAL_OK)
  {
    Error_Handler();
  }

}

static void MX_I2C1_Init(void)
{

  hi2c1.Instance = I2C1;
  hi2c1.Init.Timing = 0x0000020B;
  hi2c1.Init.OwnAddress1 = 0;
  hi2c1.Init.AddressingMode = I2C_ADDRESSINGMODE_7BIT;
  hi2c1.Init.DualAddressMode = I2C_DUALADDRESS_DISABLE;
  hi2c1.Init.OwnAddress2 = 0;
  hi2c1.Init.OwnAddress2Masks = I2C_OA2_NOMASK;
  hi2c1.Init.GeneralCallMode = I2C_GENERALCALL_DISABLE;
  hi2c1.Init.NoStretchMode = I2C_NOSTRETCH_DISABLE;
  if (HAL_I2C_Init(&hi2c1) != HAL_OK)
  {
    Error_Handler();
  }

  /** Configure Analogue filter
  */
  if (HAL_I2CEx_ConfigAnalogFilter(&hi2c1, I2C_ANALOGFILTER_ENABLE) != HAL_OK)
  {
    Error_Handler();
  }

  /** Configure Digital filter
  */
  if (HAL_I2CEx_ConfigDigitalFilter(&hi2c1, 0) != HAL_OK)
  {
    Error_Handler();
  }

}

static void MX_TIM2_Init(void)
{

  TIM_ClockConfigTypeDef sClockSourceConfig = {0};
  TIM_MasterConfigTypeDef sMasterConfig = {0};
  TIM_OC_InitTypeDef sConfigOC = {0};

  htim2.Instance = TIM2;
  htim2.Init.Prescaler = 720;
  htim2.Init.CounterMode = TIM_COUNTERMODE_UP;
  htim2.Init.Period = 999;
  htim2.Init.ClockDivision = TIM_CLOCKDIVISION_DIV1;
  htim2.Init.AutoReloadPreload = TIM_AUTORELOAD_PRELOAD_DISABLE;
  if (HAL_TIM_Base_Init(&htim2) != HAL_OK)
  {
    Error_Handler();
  }
  sClockSourceConfig.ClockSource = TIM_CLOCKSOURCE_INTERNAL;
  if (HAL_TIM_ConfigClockSource(&htim2, &sClockSourceConfig) != HAL_OK)
  {
    Error_Handler();
  }
  if (HAL_TIM_PWM_Init(&htim2) != HAL_OK)
  {
    Error_Handler();
  }
  sMasterConfig.MasterOutputTrigger = TIM_TRGO_RESET;
  sMasterConfig.MasterSlaveMode = TIM_MASTERSLAVEMODE_DISABLE;
  if (HAL_TIMEx_MasterConfigSynchronization(&htim2, &sMasterConfig) != HAL_OK)
  {
    Error_Handler();
  }
  sConfigOC.OCMode = TIM_OCMODE_PWM1;
  sConfigOC.Pulse = 500;
  sConfigOC.OCPolarity = TIM_OCPOLARITY_HIGH;
  sConfigOC.OCFastMode = TIM_OCFAST_DISABLE;
  if (HAL_TIM_PWM_ConfigChannel(&htim2, &sConfigOC, TIM_CHANNEL_4) != HAL_OK)
  {
    Error_Handler();
  }
  HAL_TIM_MspPostInit(&htim2);

}

static void MX_TIM3_Init(void)
{

  TIM_ClockConfigTypeDef sClockSourceConfig = {0};
  TIM_MasterConfigTypeDef sMasterConfig = {0};
  TIM_OC_InitTypeDef sConfigOC = {0};

  htim3.Instance = TIM3;
  htim3.Init.Prescaler = 720;
  htim3.Init.CounterMode = TIM_COUNTERMODE_UP;
  htim3.Init.Period = 999;
  htim3.Init.ClockDivision = TIM_CLOCKDIVISION_DIV1;
  htim3.Init.AutoReloadPreload = TIM_AUTORELOAD_PRELOAD_DISABLE;
  if (HAL_TIM_Base_Init(&htim3) != HAL_OK)
  {
    Error_Handler();
  }
  sClockSourceConfig.ClockSource = TIM_CLOCKSOURCE_INTERNAL;
  if (HAL_TIM_ConfigClockSource(&htim3, &sClockSourceConfig) != HAL_OK)
  {
    Error_Handler();
  }
  if (HAL_TIM_PWM_Init(&htim3) != HAL_OK)
  {
    Error_Handler();
  }
  sMasterConfig.MasterOutputTrigger = TIM_TRGO_RESET;
  sMasterConfig.MasterSlaveMode = TIM_MASTERSLAVEMODE_DISABLE;
  if (HAL_TIMEx_MasterConfigSynchronization(&htim3, &sMasterConfig) != HAL_OK)
  {
    Error_Handler();
  }
  sConfigOC.OCMode = TIM_OCMODE_PWM1;
  sConfigOC.Pulse = 0;
  sConfigOC.OCPolarity = TIM_OCPOLARITY_HIGH;
  sConfigOC.OCFastMode = TIM_OCFAST_DISABLE;
  if (HAL_TIM_PWM_ConfigChannel(&htim3, &sConfigOC, TIM_CHANNEL_1) != HAL_OK)
  {
    Error_Handler();
  }
  if (HAL_TIM_PWM_ConfigChannel(&htim3, &sConfigOC, TIM_CHANNEL_3) != HAL_OK)
  {
    Error_Handler();
  }
  HAL_TIM_MspPostInit(&htim3);

}

static void MX_TIM4_Init(void)
{

  TIM_ClockConfigTypeDef sClockSourceConfig = {0};
  TIM_MasterConfigTypeDef sMasterConfig = {0};
  TIM_OC_InitTypeDef sConfigOC = {0};

  htim4.Instance = TIM4;
  htim4.Init.Prescaler = 720;
  htim4.Init.CounterMode = TIM_COUNTERMODE_UP;
  htim4.Init.Period = 999;
  htim4.Init.ClockDivision = TIM_CLOCKDIVISION_DIV1;
  htim4.Init.AutoReloadPreload = TIM_AUTORELOAD_PRELOAD_DISABLE;
  if (HAL_TIM_Base_Init(&htim4) != HAL_OK)
  {
    Error_Handler();
  }
  sClockSourceConfig.ClockSource = TIM_CLOCKSOURCE_INTERNAL;
  if (HAL_TIM_ConfigClockSource(&htim4, &sClockSourceConfig) != HAL_OK)
  {
    Error_Handler();
  }
  if (HAL_TIM_PWM_Init(&htim4) != HAL_OK)
  {
    Error_Handler();
  }
  sMasterConfig.MasterOutputTrigger = TIM_TRGO_RESET;
  sMasterConfig.MasterSlaveMode = TIM_MASTERSLAVEMODE_DISABLE;
  if (HAL_TIMEx_MasterConfigSynchronization(&htim4, &sMasterConfig) != HAL_OK)
  {
    Error_Handler();
  }
  sConfigOC.OCMode = TIM_OCMODE_PWM1;
  sConfigOC.Pulse = 0;
  sConfigOC.OCPolarity = TIM_OCPOLARITY_HIGH;
  sConfigOC.OCFastMode = TIM_OCFAST_DISABLE;
  if (HAL_TIM_PWM_ConfigChannel(&htim4, &sConfigOC, TIM_CHANNEL_2) != HAL_OK)
  {
    Error_Handler();
  }
  HAL_TIM_MspPostInit(&htim4);

}

static void MX_USART2_UART_Init(void)
{

  huart2.Instance = USART2;
  huart2.Init.BaudRate = 57600;
  huart2.Init.WordLength = UART_WORDLENGTH_9B;
  huart2.Init.StopBits = UART_STOPBITS_2;
  huart2.Init.Parity = UART_PARITY_EVEN;
  huart2.Init.Mode = UART_MODE_TX_RX;
  huart2.Init.HwFlowCtl = UART_HWCONTROL_NONE;
  huart2.Init.OverSampling = UART_OVERSAMPLING_16;
  huart2.Init.OneBitSampling = UART_ONE_BIT_SAMPLE_DISABLE;
  huart2.AdvancedInit.AdvFeatureInit = UART_ADVFEATURE_NO_INIT;
  if (HAL_UART_Init(&huart2) != HAL_OK)
  {
    Error_Handler();
  }

}

static void MX_DMA_Init(void)
{

  /* DMA controller clock enable */
  __HAL_RCC_DMA1_CLK_ENABLE();

  /* DMA interrupt init */
  /* DMA1_Channel1_IRQn interrupt configuration */
  HAL_NVIC_SetPriority(DMA1_Channel1_IRQn, 0, 0);
  HAL_NVIC_EnableIRQ(DMA1_Channel1_IRQn);
  /* DMA1_Channel6_IRQn interrupt configuration */
  HAL_NVIC_SetPriority(DMA1_Channel6_IRQn, 0, 0);
  HAL_NVIC_EnableIRQ(DMA1_Channel6_IRQn);
  /* DMA1_Channel7_IRQn interrupt configuration */
  HAL_NVIC_SetPriority(DMA1_Channel7_IRQn, 0, 0);
  HAL_NVIC_EnableIRQ(DMA1_Channel7_IRQn);

}

static void MX_GPIO_Init(void)
{
  GPIO_InitTypeDef GPIO_InitStruct = {0};

  /* GPIO Ports Clock Enable */
  __HAL_RCC_GPIOC_CLK_ENABLE();
  __HAL_RCC_GPIOF_CLK_ENABLE();
  __HAL_RCC_GPIOA_CLK_ENABLE();
  __HAL_RCC_GPIOB_CLK_ENABLE();

  /*Configure GPIO pin Output Level */
  HAL_GPIO_WritePin(GPIOA, LD2_Pin|GPIO_PIN_10, GPIO_PIN_RESET);

  /*Configure GPIO pin Output Level */
  HAL_GPIO_WritePin(GPIOB, GPIO_PIN_10|GPIO_PIN_4|GPIO_PIN_5, GPIO_PIN_RESET);

  /*Configure GPIO pin Output Level */
  HAL_GPIO_WritePin(GPIOB, GPIO_PIN_14, GPIO_PIN_SET);

  /*Configure GPIO pin : B1_Pin */
  GPIO_InitStruct.Pin = B1_Pin;
  GPIO_InitStruct.Mode = GPIO_MODE_IT_FALLING;
  GPIO_InitStruct.Pull = GPIO_NOPULL;
  HAL_GPIO_Init(B1_GPIO_Port, &GPIO_InitStruct);

  /*Configure GPIO pins : PA1 PA7 PA9 */
  GPIO_InitStruct.Pin = GPIO_PIN_1|GPIO_PIN_7|GPIO_PIN_9;
  GPIO_InitStruct.Mode = GPIO_MODE_IT_RISING_FALLING;
  GPIO_InitStruct.Pull = GPIO_PULLUP;
  HAL_GPIO_Init(GPIOA, &GPIO_InitStruct);

  /*Configure GPIO pins : LD2_Pin PA10 */
  GPIO_InitStruct.Pin = LD2_Pin|GPIO_PIN_10;
  GPIO_InitStruct.Mode = GPIO_MODE_OUTPUT_PP;
  GPIO_InitStruct.Pull = GPIO_NOPULL;
  GPIO_InitStruct.Speed = GPIO_SPEED_FREQ_LOW;
  HAL_GPIO_Init(GPIOA, &GPIO_InitStruct);

  /*Configure GPIO pins : PB10 PB14 PB4 PB5 */
  GPIO_InitStruct.Pin = GPIO_PIN_10|GPIO_PIN_14|GPIO_PIN_4|GPIO_PIN_5;
  GPIO_InitStruct.Mode = GPIO_MODE_OUTPUT_PP;
  GPIO_InitStruct.Pull = GPIO_NOPULL;
  GPIO_InitStruct.Speed = GPIO_SPEED_FREQ_LOW;
  HAL_GPIO_Init(GPIOB, &GPIO_InitStruct);

  /*Configure GPIO pin : PB12 */
  GPIO_InitStruct.Pin = GPIO_PIN_12;
  GPIO_InitStruct.Mode = GPIO_MODE_IT_FALLING;
  GPIO_InitStruct.Pull = GPIO_PULLUP;
  HAL_GPIO_Init(GPIOB, &GPIO_InitStruct);

  /*Configure GPIO pin : PB8 */
  GPIO_InitStruct.Pin = GPIO_PIN_8;
  GPIO_InitStruct.Mode = GPIO_MODE_IT_RISING_FALLING;
  GPIO_InitStruct.Pull = GPIO_PULLUP;
  HAL_GPIO_Init(GPIOB, &GPIO_InitStruct);

  /* EXTI interrupt init*/
  HAL_NVIC_SetPriority(EXTI1_IRQn, 0, 0);
  HAL_NVIC_EnableIRQ(EXTI1_IRQn);

  HAL_NVIC_SetPriority(EXTI9_5_IRQn, 0, 0);
  HAL_NVIC_EnableIRQ(EXTI9_5_IRQn);

  HAL_NVIC_SetPriority(EXTI15_10_IRQn, 0, 0);
  HAL_NVIC_EnableIRQ(EXTI15_10_IRQn);

}

void Error_Handler(void)
{
  __disable_irq();
  while (1)
  {
  }
}
